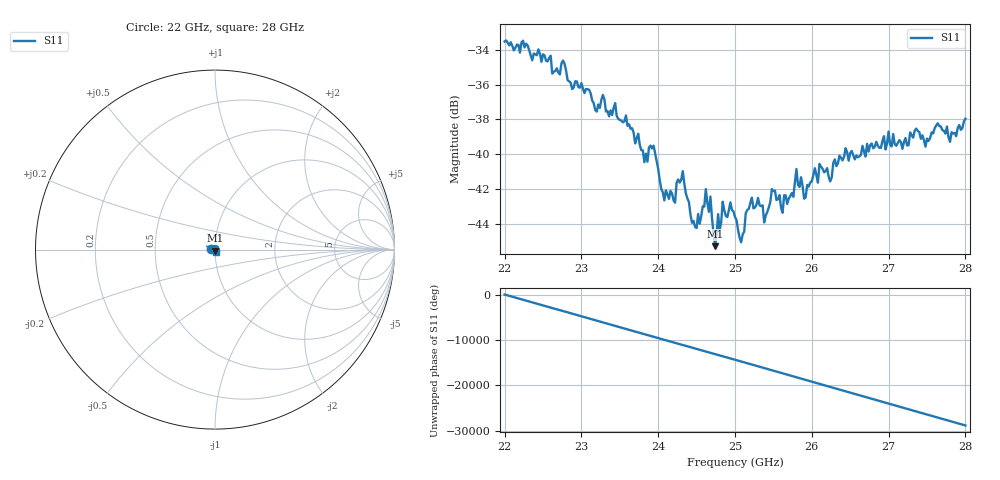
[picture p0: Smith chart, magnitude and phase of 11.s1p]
#  HZ  S  RI  R  50.00
! Rohde & Schwarz ZVA40 4Ports - Version 3.90 - 1145.1110k42 SN: 100403
! Date: 2023-10-04 08:32:45
! Measurement: S12
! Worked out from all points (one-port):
!   301 points, 22 GHz to 28 GHz, reference 50 ohm
!   lowest |S11| = -45.3 dB at 24.74 GHz (marker M1), VSWR 1.01, Z = 50.1 - j0.542 ohm
!   |S11| at or under -10 dB: start of sweep to end of sweep
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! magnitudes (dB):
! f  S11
! 22 GHz  -33.5
! 22.76 GHz  -34.6
! 22.88 GHz  -36.3
! 23.5 GHz  -38.0
! 23.82 GHz  -40.5
! 23.94 GHz  -39.5
! 24.08 GHz  -42.6
! 24.22 GHz  -42.8
! 24.26 GHz  -41.4
! 24.32 GHz  -41.0
! 24.5 GHz  -44.2
! 24.68 GHz  -42.4
! 24.74 GHz  -45.3
! 24.84 GHz  -42.7
! 25 GHz  -43.6
! 25.08 GHz  -45.0
! 25.22 GHz  -42.5
! 25.38 GHz  -43.9
! 25.48 GHz  -42.0
! 25.62 GHz  -43.3
! 25.76 GHz  -42.4
! 25.8 GHz  -40.8
! 25.9 GHz  -42.5
! 26.04 GHz  -40.8
! 26.24 GHz  -41.6
! 26.5 GHz  -39.9
! 27.26 GHz  -39.5
! 28 GHz  -38.0
